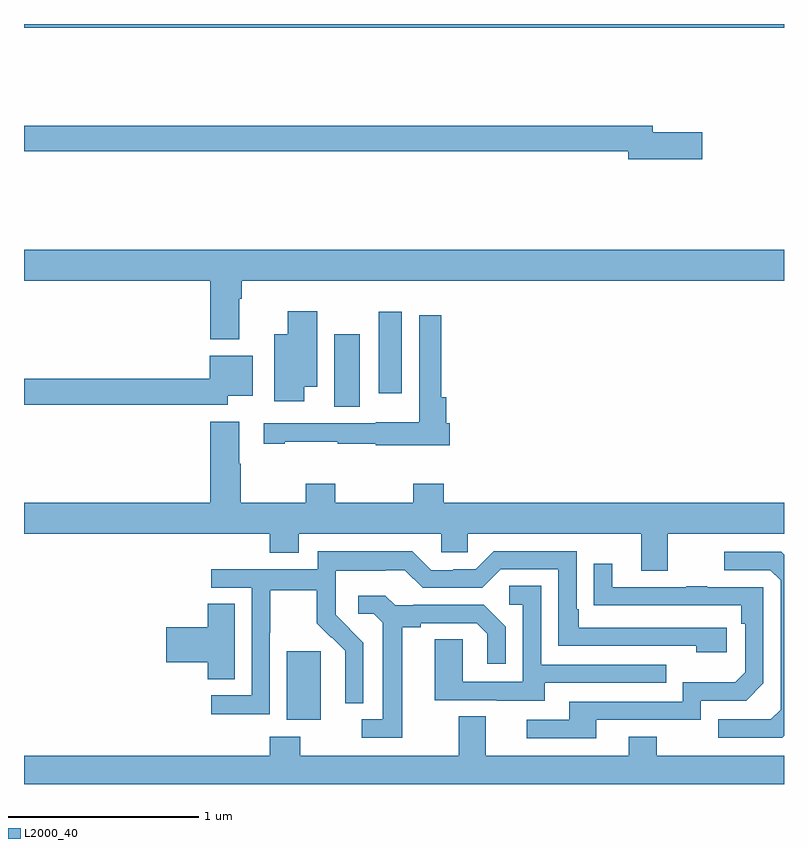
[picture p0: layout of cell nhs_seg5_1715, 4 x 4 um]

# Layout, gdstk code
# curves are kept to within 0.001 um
import gdstk
lib = gdstk.Library(unit=1e-6, precision=1e-09)
def R(c, l, rs):  # rectangles x0, y0, x1, y1
    for r in rs: c.add(gdstk.rectangle(r[:2], r[2:], *l))
def P(c, l, *ps):  # polygons
    for p in ps: c.add(gdstk.Polygon(p, *l))
L2000_40 = (2000, 40)

nhs_seg5_1715 = lib.new_cell('nhs_seg5_1715')
R(nhs_seg5_1715, L2000_40, [(216.383,833.138,216.562,833.499), (216.632,834.784,216.766,835.165), (216.866,834.855,216.988,835.285), (215,836.78,219,836.799)])
P(nhs_seg5_1715, L2000_40, [(218.569,836.228),(218.308,836.228),(218.308,836.264),(215,836.264),(215,836.128),(218.18,836.128),(218.18,836.086),(218.569,836.086)],
  [(216.133,835.352),(216.146,835.352),(216.146,835.448),(219,835.448),(219,835.612),(215,835.612),(215,835.448),(215.981,835.448),(215.981,835.139),(216.133,835.139)],
  [(216.475,834.89),(216.544,834.89),(216.544,835.288),(216.389,835.288),(216.389,835.165),(216.317,835.165),(216.317,834.813),(216.475,834.813)],
  [(217.241,834.699),(217.223,834.699),(217.223,834.835),(217.196,834.835),(217.196,835.267),(217.08,835.267),(217.08,834.703),(216.852,834.703),(216.852,834.699),(216.261,834.699),(216.261,834.591),(216.373,834.591),(216.373,834.601),(216.652,834.601),(216.652,834.591),(216.852,834.591),(216.852,834.581),(217.241,834.581)],
  [(216.072,834.842),(216.205,834.842),(216.205,835.054),(215.978,835.054),(215.978,834.932),(215,834.932),(215,834.796),(216.072,834.796)],
  [(216.141,834.485),(216.133,834.485),(216.133,834.706),(215.981,834.706),(215.981,834.28),(215,834.28),(215,834.116),(216.293,834.116),(216.293,834.017),(216.445,834.017),(216.445,834.116),(217.197,834.116),(217.197,834.018),(217.335,834.018),(217.335,834.116),(218.249,834.116),(218.249,833.922),(218.389,833.922),(218.389,834.116),(219,834.116),(219,834.28),(217.208,834.28),(217.208,834.379),(217.048,834.379),(217.048,834.28),(216.639,834.28),(216.639,834.379),(216.484,834.379),(216.484,834.28),(216.141,834.28)],
  [(216.294,833.596),(216.297,833.596),(216.297,833.82),(216.541,833.82),(216.541,833.645),(216.618,833.568),(216.621,833.571),(216.692,833.501),(216.692,833.378),(216.69,833.378),(216.69,833.224),(216.786,833.224),(216.786,833.542),(216.64,833.69),(216.64,833.787),(216.642,833.787),(216.642,833.921),(216.905,833.921),(216.905,833.925),(217.005,833.925),(217.098,833.832),(217.413,833.832),(217.509,833.928),(217.812,833.928),(217.812,833.526),(218.537,833.526),(218.537,833.492),(218.698,833.492),(218.698,833.622),(217.921,833.622),(217.921,833.719),(217.908,833.719),(217.908,834.024),(217.473,834.024),(217.377,833.928),(217.259,833.928),(217.259,833.925),(217.143,833.925),(217.043,834.025),(216.546,834.025),(216.546,833.928),(215.985,833.928),(215.985,833.832),(216.198,833.832),(216.198,833.265),(215.985,833.265),(215.985,833.167),(216.294,833.167)],
  [(219,833.052),(219,834.006),(218.985,834.021),(218.685,834.021),(218.685,833.925),(218.928,833.925),(218.982,833.871),(218.982,833.19),(218.931,833.139),(218.655,833.139),(218.655,833.043),(218.991,833.043)],
  [(218.011,833.136),(218.562,833.136),(218.562,833.238),(218.802,833.238),(218.892,833.328),(218.892,833.835),(218.597,833.835),(218.597,833.84),(218.485,833.84),(218.485,833.835),(218.095,833.835),(218.095,833.959),(217.999,833.959),(217.999,833.74),(218.776,833.739),(218.776,833.642),(218.796,833.642),(218.796,833.388),(218.743,833.335),(218.466,833.335),(218.466,833.232),(217.871,833.232),(217.871,833.136),(217.647,833.136),(217.647,833.04),(218.011,833.04)],
  [(217.741,833.331),(218.381,833.331),(218.381,833.427),(217.722,833.427),(217.722,833.843),(217.554,833.843),(217.554,833.742),(217.626,833.742),(217.626,833.337),(217.308,833.337),(217.308,833.561),(217.163,833.561),(217.163,833.241),(217.487,833.241),(217.487,833.237),(217.741,833.237)],
  [(216.991,833.624),(217.087,833.624),(217.087,833.646),(217.382,833.646),(217.439,833.589),(217.439,833.433),(217.536,833.433),(217.536,833.626),(217.42,833.742),(217.048,833.742),(217.048,833.739),(216.954,833.739),(216.902,833.791),(216.759,833.791),(216.759,833.694),(216.84,833.694),(216.887,833.647),(216.887,833.139),(216.777,833.139),(216.777,833.043),(216.991,833.043)],
  [(216.109,833.747),(215.966,833.747),(215.966,833.624),(215.748,833.624),(215.748,833.441),(215.966,833.441),(215.966,833.35),(216.109,833.35)],
  [(219,832.948),(218.331,832.948),(218.331,833.047),(218.183,833.047),(218.183,832.948),(217.429,832.948),(217.429,833.156),(217.289,833.156),(217.289,832.948),(216.453,832.948),(216.453,833.047),(216.293,833.047),(216.293,832.948),(215,832.948),(215,832.799),(219,832.799)])

lib.write_gds('nhs_seg5_1715.gds')
